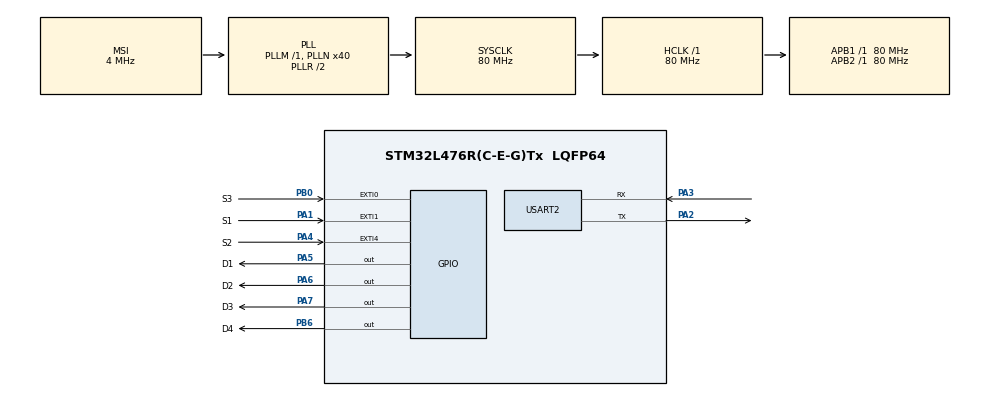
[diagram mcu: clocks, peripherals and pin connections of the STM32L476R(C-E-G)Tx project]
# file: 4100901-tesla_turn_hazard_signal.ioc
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Mcu.Family=STM32L4
Mcu.Name=STM32L476R(C-E-G)Tx
Mcu.Package=LQFP64
NVIC.EXTI0_IRQn=true\:0\:0\:false\:false\:true\:true\:true\:true
NVIC.EXTI1_IRQn=true\:0\:0\:false\:false\:true\:true\:true\:true
NVIC.EXTI4_IRQn=true\:0\:0\:false\:false\:true\:true\:true\:true
NVIC.PriorityGroup=NVIC_PRIORITYGROUP_4
PA1.GPIO_Label=S1
PA1.GPIO_ModeDefaultEXTI=GPIO_MODE_IT_FALLING
PA1.Signal=GPXTI1
PA2.Mode=Asynchronous
PA2.Signal=USART2_TX
PA3.Mode=Asynchronous
PA3.Signal=USART2_RX
PA4.GPIO_Label=S2
PA4.GPIO_ModeDefaultEXTI=GPIO_MODE_IT_FALLING
PA4.Signal=GPXTI4
PA5.GPIO_Label=D1
PA5.Signal=GPIO_Output
PA6.GPIO_Label=D2
PA6.Signal=GPIO_Output
PA7.GPIO_Label=D3
PA7.Signal=GPIO_Output
PB0.GPIO_Label=S3
PB0.GPIO_ModeDefaultEXTI=GPIO_MODE_IT_FALLING
PB0.Signal=GPXTI0
PB6.GPIO_Label=D4
PB6.Signal=GPIO_Output
ProjectManager.HeapSize=0x200
ProjectManager.StackSize=0x400
ProjectManager.TargetToolchain=STM32CubeIDE
RCC.AHBFreq_Value=80000000
RCC.APB1Freq_Value=80000000
RCC.APB1TimFreq_Value=80000000
RCC.APB2Freq_Value=80000000
RCC.APB2TimFreq_Value=80000000
RCC.CortexFreq_Value=80000000
RCC.HCLKFreq_Value=80000000
RCC.HSE_VALUE=8000000
RCC.HSI_VALUE=16000000
RCC.LSE_VALUE=32768
RCC.MSI_VALUE=4000000
RCC.PLLN=40
RCC.SYSCLKFreq_VALUE=80000000
RCC.SYSCLKSource=RCC_SYSCLKSOURCE_PLLCLK
RCC.VCOOutputFreq_Value=160000000
USART2.VirtualMode-Asynchronous=VM_ASYNC
board=custom

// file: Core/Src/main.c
/* USER CODE BEGIN Header */
/**
  ******************************************************************************
  * @file           : main.c
  * @brief          : Main program body
  ******************************************************************************
  * @attention
  *
  * Copyright (c) 2024 STMicroelectronics.
  * All rights reserved.
  *
  * This software is licensed under terms that can be found in the LICENSE file
  * in the root directory of this software component.
  * If no LICENSE file comes with this software, it is provided AS-IS.
  *
  ******************************************************************************
  */
/* USER CODE END Header */
#include "main.h"

UART_HandleTypeDef huart2;

/* USER CODE BEGIN PV */
//variables to setting number of blinks
uint32_t left_toggles = 0;
uint32_t right_toggles = 0;
uint32_t parking_toggles = 0;
//variables to save last register of press buttons.
uint32_t left_last_press_tick = 0;
uint32_t right_last_press_tick = 0;

/* USER CODE END PV */

void SystemClock_Config(void);
static void MX_GPIO_Init(void);
static void MX_USART2_UART_Init(void);

/* USER CODE BEGIN 0 */
void HAL_GPIO_EXTI_Callback(uint16_t GPIO_Pin)
{
	//turn left button settings
	if (GPIO_Pin == S1_Pin) {
		HAL_UART_Transmit(&huart2, "S1\r\n", 4, 10);
		if (HAL_GetTick() < (left_last_press_tick + 300)) { // if last press was in the last 300ms
				left_toggles = 0xFFFFFF; // a long time toggling (infinite)
			} else {
				left_toggles = 6; // 3 times blinking (if it's pressed once)
			}
			left_last_press_tick = HAL_GetTick();
		// for deactivate right button if it's active
		} else if (GPIO_Pin == S2_Pin) {
			left_toggles = 0;
	}
   //turn right button settings
	if (GPIO_Pin == S2_Pin) {
		HAL_UART_Transmit(&huart2, "S2\r\n", 4, 10);
		if (HAL_GetTick() < (right_last_press_tick + 300)) { // if last press was in the last 300ms
			right_toggles = 0xFFFFFF; // a long time toggling (infinite)
		} else {
			right_toggles = 6; // 3 times blinking (if it's pressed once)
		}
		right_last_press_tick = HAL_GetTick();
	//for deactivate left button it it's active
	} else if (GPIO_Pin == S1_Pin) {
		right_toggles = 0;

	}
   //parking signal button settings
    if (GPIO_Pin == S3_Pin) {
        HAL_UART_Transmit(&huart2, "S3\r\n", 4, 10);
        parking_toggles = 240; // number of blinks for 2 minutes (accord to rules)
      }
}
//Heart beat setting to indicate proper system operation
void heartbeat(void)
{
	    static uint32_t last_toggle = 0;
	    if (HAL_GetTick() - last_toggle >= 1000) { // Toggle every second (1Hz)
	        HAL_GPIO_TogglePin(D1_GPIO_Port, D1_Pin);
	        last_toggle = HAL_GetTick();
	    }
}
//LED setting for left turn signal (time and function depending on conditions)
void turn_signal_left(void)
{
	static uint32_t turn_toggle_tick = 0;
	if (turn_toggle_tick < HAL_GetTick()) {
		if (left_toggles > 0) {
			turn_toggle_tick = HAL_GetTick() + 500; //time of blinking
			HAL_GPIO_TogglePin(D3_GPIO_Port, D3_Pin);
			left_toggles--;
		} else {
			HAL_GPIO_WritePin(D3_GPIO_Port, D3_Pin, 1);
		}

	}
}
//LED setting for right turn signal (time and function depending on conditions)
void turn_signal_right(void)
{
	static uint32_t turn_toggle_tick = 0;
	if (turn_toggle_tick < HAL_GetTick()) {
		if (right_toggles > 0) {
			turn_toggle_tick = HAL_GetTick() + 500; //time of blinking
			HAL_GPIO_TogglePin(D4_GPIO_Port, D4_Pin);
			right_toggles--;
		} else {
			HAL_GPIO_WritePin(D4_GPIO_Port, D4_Pin, 1);
		}

	}
}
//LED setting for parking signal (time and function depending on conditions)
void parking_signal(void)
{
	static uint32_t parking_toggle_tick = 0;
	if(parking_toggle_tick < HAL_GetTick()){
		if(parking_toggles > 0){
			parking_toggle_tick = HAL_GetTick()+500;
		    HAL_GPIO_TogglePin(D2_GPIO_Port, D2_Pin);
		    parking_toggles--;
		}else {
			HAL_GPIO_WritePin(D2_GPIO_Port,D2_Pin,1);
		}
	}
}
/* USER CODE END 0 */

int main(void)
{

  /* MCU Configuration--------------------------------------------------------*/

  /* Reset of all peripherals, Initializes the Flash interface and the Systick. */
  HAL_Init();

  /* Configure the system clock */
  SystemClock_Config();

  /* Initialize all configured peripherals */
  MX_GPIO_Init();
  MX_USART2_UART_Init();

  /* Infinite loop */
  while (1)
  {
      heartbeat();
      turn_signal_left();
      turn_signal_right();
      parking_signal();
  }
}

void SystemClock_Config(void)
{
  RCC_OscInitTypeDef RCC_OscInitStruct = {0};
  RCC_ClkInitTypeDef RCC_ClkInitStruct = {0};

  /** Configure the main internal regulator output voltage
  */
  if (HAL_PWREx_ControlVoltageScaling(PWR_REGULATOR_VOLTAGE_SCALE1) != HAL_OK)
  {
    Error_Handler();
  }

  /** Initializes the RCC Oscillators according to the specified parameters
  * in the RCC_OscInitTypeDef structure.
  */
  RCC_OscInitStruct.OscillatorType = RCC_OSCILLATORTYPE_MSI;
  RCC_OscInitStruct.MSIState = RCC_MSI_ON;
  RCC_OscInitStruct.MSICalibrationValue = 0;
  RCC_OscInitStruct.MSIClockRange = RCC_MSIRANGE_6;
  RCC_OscInitStruct.PLL.PLLState = RCC_PLL_ON;
  RCC_OscInitStruct.PLL.PLLSource = RCC_PLLSOURCE_MSI;
  RCC_OscInitStruct.PLL.PLLM = 1;
  RCC_OscInitStruct.PLL.PLLN = 40;
  RCC_OscInitStruct.PLL.PLLP = RCC_PLLP_DIV7;
  RCC_OscInitStruct.PLL.PLLQ = RCC_PLLQ_DIV2;
  RCC_OscInitStruct.PLL.PLLR = RCC_PLLR_DIV2;
  if (HAL_RCC_OscConfig(&RCC_OscInitStruct) != HAL_OK)
  {
    Error_Handler();
  }

  /** Initializes the CPU, AHB and APB buses clocks
  */
  RCC_ClkInitStruct.ClockType = RCC_CLOCKTYPE_HCLK|RCC_CLOCKTYPE_SYSCLK
                              |RCC_CLOCKTYPE_PCLK1|RCC_CLOCKTYPE_PCLK2;
  RCC_ClkInitStruct.SYSCLKSource = RCC_SYSCLKSOURCE_PLLCLK;
  RCC_ClkInitStruct.AHBCLKDivider = RCC_SYSCLK_DIV1;
  RCC_ClkInitStruct.APB1CLKDivider = RCC_HCLK_DIV1;
  RCC_ClkInitStruct.APB2CLKDivider = RCC_HCLK_DIV1;

  if (HAL_RCC_ClockConfig(&RCC_ClkInitStruct, FLASH_LATENCY_4) != HAL_OK)
  {
    Error_Handler();
  }
}

static void MX_USART2_UART_Init(void)
{

  huart2.Instance = USART2;
  huart2.Init.BaudRate = 115200;
  huart2.Init.WordLength = UART_WORDLENGTH_8B;
  huart2.Init.StopBits = UART_STOPBITS_1;
  huart2.Init.Parity = UART_PARITY_NONE;
  huart2.Init.Mode = UART_MODE_TX_RX;
  huart2.Init.HwFlowCtl = UART_HWCONTROL_NONE;
  huart2.Init.OverSampling = UART_OVERSAMPLING_16;
  huart2.Init.OneBitSampling = UART_ONE_BIT_SAMPLE_DISABLE;
  huart2.AdvancedInit.AdvFeatureInit = UART_ADVFEATURE_NO_INIT;
  if (HAL_UART_Init(&huart2) != HAL_OK)
  {
    Error_Handler();
  }

}

static void MX_GPIO_Init(void)
{
  GPIO_InitTypeDef GPIO_InitStruct = {0};

  /* GPIO Ports Clock Enable */
  __HAL_RCC_GPIOA_CLK_ENABLE();
  __HAL_RCC_GPIOB_CLK_ENABLE();

  /*Configure GPIO pin Output Level */
  HAL_GPIO_WritePin(GPIOA, D1_Pin|D2_Pin|D3_Pin, GPIO_PIN_RESET);

  /*Configure GPIO pin Output Level */
  HAL_GPIO_WritePin(D4_GPIO_Port, D4_Pin, GPIO_PIN_RESET);

  /*Configure GPIO pins : S1_Pin S2_Pin */
  GPIO_InitStruct.Pin = S1_Pin|S2_Pin;
  GPIO_InitStruct.Mode = GPIO_MODE_IT_FALLING;
  GPIO_InitStruct.Pull = GPIO_NOPULL;
  HAL_GPIO_Init(GPIOA, &GPIO_InitStruct);

  /*Configure GPIO pins : D1_Pin D2_Pin D3_Pin */
  GPIO_InitStruct.Pin = D1_Pin|D2_Pin|D3_Pin;
  GPIO_InitStruct.Mode = GPIO_MODE_OUTPUT_PP;
  GPIO_InitStruct.Pull = GPIO_NOPULL;
  GPIO_InitStruct.Speed = GPIO_SPEED_FREQ_LOW;
  HAL_GPIO_Init(GPIOA, &GPIO_InitStruct);

  /*Configure GPIO pin : S3_Pin */
  GPIO_InitStruct.Pin = S3_Pin;
  GPIO_InitStruct.Mode = GPIO_MODE_IT_FALLING;
  GPIO_InitStruct.Pull = GPIO_NOPULL;
  HAL_GPIO_Init(S3_GPIO_Port, &GPIO_InitStruct);

  /*Configure GPIO pin : D4_Pin */
  GPIO_InitStruct.Pin = D4_Pin;
  GPIO_InitStruct.Mode = GPIO_MODE_OUTPUT_PP;
  GPIO_InitStruct.Pull = GPIO_NOPULL;
  GPIO_InitStruct.Speed = GPIO_SPEED_FREQ_LOW;
  HAL_GPIO_Init(D4_GPIO_Port, &GPIO_InitStruct);

  /* EXTI interrupt init*/
  HAL_NVIC_SetPriority(EXTI0_IRQn, 0, 0);
  HAL_NVIC_EnableIRQ(EXTI0_IRQn);

  HAL_NVIC_SetPriority(EXTI1_IRQn, 0, 0);
  HAL_NVIC_EnableIRQ(EXTI1_IRQn);

  HAL_NVIC_SetPriority(EXTI4_IRQn, 0, 0);
  HAL_NVIC_EnableIRQ(EXTI4_IRQn);

}

void Error_Handler(void)
{
  __disable_irq();
  while (1)
  {
  }
}
